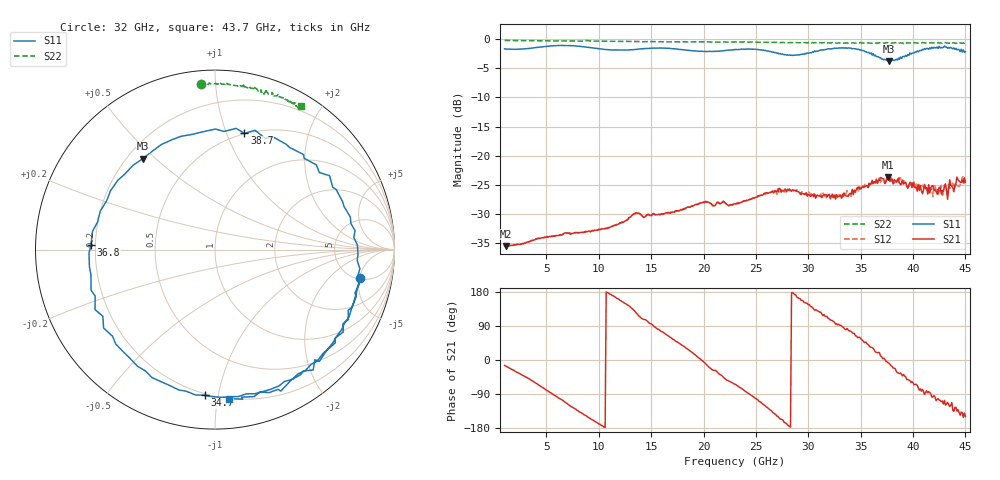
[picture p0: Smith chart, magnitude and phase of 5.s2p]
!Keysight Technologies,N5247B,MY61255062,A.19.80.06
!Date: Monday, May 18, 2026 11:53:56
!Correction: S11(Cdelta 2-Port  )
!S21(Cdelta 2-Port  )
!S12(Cdelta 2-Port  )
!S22(Cdelta 2-Port  )
!S2P File: Measurements: S11, S21, S12, S22:
# Hz S  dB  R 50
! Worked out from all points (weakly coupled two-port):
!   441 points, 1 GHz to 45 GHz, reference 50 ohm
!   highest |S21| = -23.63 dB at 37.6 GHz (marker M1); lowest = -35.5 dB at 1.1 GHz (marker M2)
!   lowest |S11| = -3.8 dB at 37.7 GHz (marker M3), VSWR 4.67, Z = 13.1 + j22.8 ohm
!   |S11| at or under -10 dB: nowhere
!   |S22| runs from -0.8 to -0.3 dB; largest |S21 - S12| = 0.017
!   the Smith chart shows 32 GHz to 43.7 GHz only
!   S11 on the Smith chart (normalised r, x): 32 GHz: 5.27, -5.16; 34.7 GHz: 0.19, -0.91; 36.8 GHz: 0.18, +0.02; 38.7 GHz: 0.50, +1.16; 43.7 GHz: 0.20, -1.08
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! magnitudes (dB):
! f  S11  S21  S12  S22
! 1 GHz  -1.7  -35.5  -35.5  -0.3
! 1.1 GHz  -1.7  -35.5  -35.5  -0.3
! 8.4 GHz  -1.3  -33.1  -33.1  -0.4
! 11 GHz  -1.9  -32.3  -32.3  -0.4
! 13.6 GHz  -1.8  -29.7  -29.8  -0.4
! 15.7 GHz  -1.5  -30.0  -30.1  -0.5
! 20 GHz  -2.1  -27.9  -28.0  -0.5
! 23 GHz  -1.9  -28.2  -28.4  -0.5
! 27.1 GHz  -2.4  -26.2  -25.6  -0.6
! 30.4 GHz  -2.2  -26.6  -26.6  -0.6
! 32 GHz  -1.7  -26.6  -26.6  -0.7
! 33.3 GHz  -1.6  -26.7  -26.6  -0.7
! 34.7 GHz  -1.8  -25.5  -25.5  -0.7
! 36.8 GHz  -3.2  -24.1  -23.7  -0.6
! 37.6 GHz  -3.7  -23.6  -23.8  -0.6
! 37.7 GHz  -3.8  -23.7  -23.8  -0.7
! 38.7 GHz  -3.5  -24.7  -23.9  -0.7
! 40.8 GHz  -2.0  -26.1  -25.1  -0.7
! 41.7 GHz  -1.7  -25.5  -25.8  -0.7
! 42.2 GHz  -1.5  -26.1  -25.9  -0.7
! 43.7 GHz  -1.6  -25.2  -25.2  -0.6
! 45 GHz  -2.2  -24.5  -24.2  -0.7
